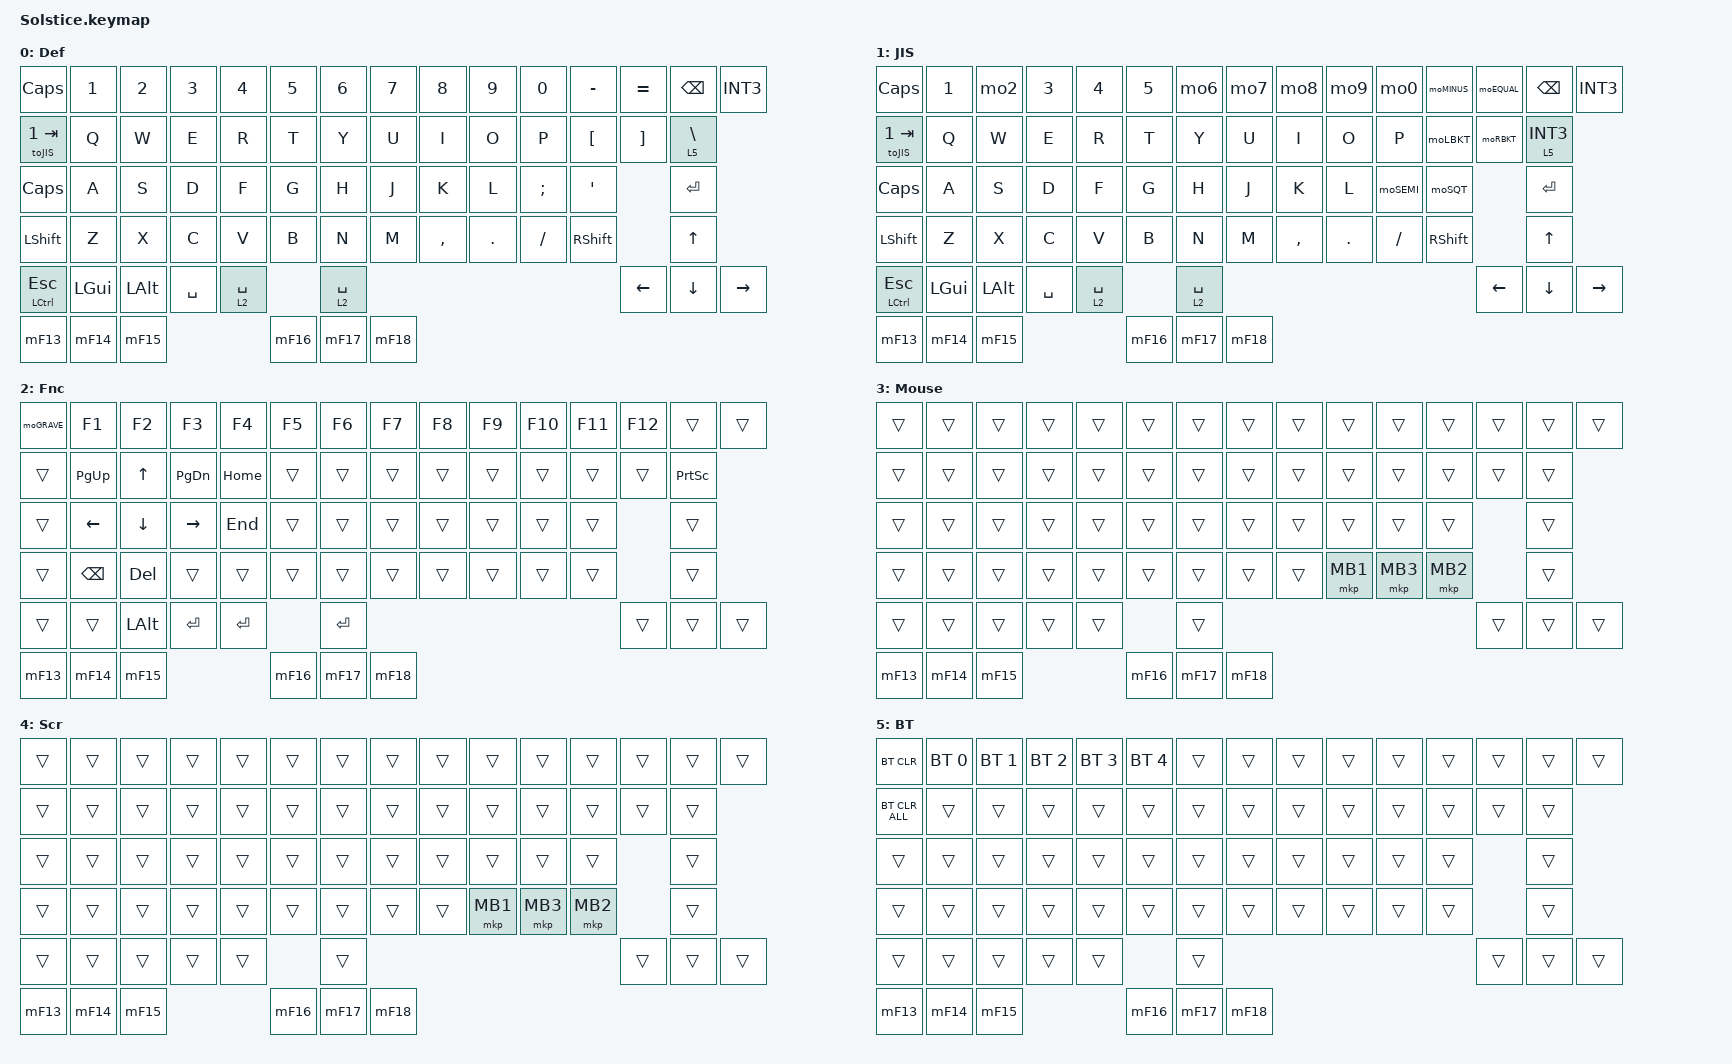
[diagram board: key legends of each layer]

keymap {
	compatible = "zmk,keymap";
	default_layer {
		label="Def";
		bindings = <
		&kp CAPS       &kp N1    &kp N2     &kp N3     &kp N4     &kp N5       &kp N6    &kp N7     &kp N8     &kp N9     &kp N0    &kp MINUS  &kp EQUAL      &kp BKSP  &kp INT3
		&toJIS 1 TAB   &kp Q     &kp W      &kp E      &kp R      &kp T        &kp Y     &kp U      &kp I      &kp O      &kp P     &kp LBKT   &kp RBKT       &lt 5 BSLH
		&kp CAPS     &kp A     &kp S      &kp D      &kp F      &kp G        &kp H     &kp J      &kp K      &kp L      &kp SEMI  &kp SQT                   &kp ENTER
		&kp LSHFT      &kp Z     &kp X      &kp C      &kp V      &kp B        &kp N     &kp M      &kp COMMA  &kp DOT    &kp FSLH  &kp RSHFT                 &kp UP
		&mt LCTL ESC   &kp LGUI  &kp LALT   &kp SPACE  &lt 2 SPACE             &lt 2 SPACE                                                           &kp LEFT &kp DOWN &kp RIGHT
		&mF13            &mF14            &mF15            &mF16            &mF17            &mF18
		>;
	};
	
	jis_layer {
		label="JIS";
		bindings = <
		&kp CAPS       &kp N1    &mo2       &kp N3     &kp N4     &kp N5       &mo6      &mo7       &mo8       &mo9       &mo0      &moMINUS   &moEQUAL        &kp BKSP  &kp INT3
		&toJIS 1 TAB   &kp Q     &kp W      &kp E      &kp R      &kp T        &kp Y     &kp U      &kp I      &kp O      &kp P     &moLBKT    &moRBKT         &lt 5 INT3
		&kp CAPS       &kp A     &kp S      &kp D      &kp F      &kp G        &kp H     &kp J      &kp K      &kp L      &moSEMI   &moSQT                     &kp ENTER
		&kp LSHFT      &kp Z     &kp X      &kp C      &kp V      &kp B        &kp N     &kp M      &kp COMMA  &kp DOT    &kp FSLH  &kp RSHFT                  &kp UP
		&mt LCTL ESC   &kp LGUI  &kp LALT   &kp SPACE  &lt 2 SPACE             &lt 2 SPACE                                                        &kp LEFT &kp DOWN &kp RIGHT
		&mF13            &mF14            &mF15            &mF16            &mF17            &mF18
		>;
	};
	
	function_layer {
		label="Fnc";
		bindings = <
		&moGRAVE      &kp F1     &kp F2     &kp F3     &kp F4     &kp F5       &kp F6    &kp F7     &kp F8     &kp F9     &kp F10   &kp F11    &kp F12         &trans   &trans
		&trans        &kp PG_UP  &kp UP     &kp PG_DN  &kp HOME   &trans       &trans    &trans     &trans     &trans     &trans    &trans     &trans          &kp PSCRN
		&trans        &kp LEFT   &kp DOWN   &kp RIGHT  &kp END    &trans       &trans    &trans     &trans     &trans     &trans    &trans                     &trans
		&trans        &kp BKSP   &kp DEL    &trans     &trans     &trans       &trans    &trans     &trans     &trans     &trans    &trans                     &trans
		&trans        &trans     &kp LALT   &kp ENTER  &kp ENTER               &kp ENTER                                                              &trans   &trans   &trans
		&mF13            &mF14            &mF15            &mF16            &mF17            &mF18
		>;
	};
	
	mouse_layer {
		label="Mouse";
		bindings = <
		&trans        &trans     &trans     &trans     &trans     &trans       &trans    &trans     &trans     &trans     &trans    &trans     &trans          &trans   &trans
		&trans        &trans     &trans     &trans     &trans     &trans       &trans    &trans     &trans     &trans     &trans    &trans     &trans          &trans
		&trans        &trans     &trans     &trans     &trans     &trans       &trans    &trans     &trans     &trans     &trans    &trans                     &trans
		&trans        &trans     &trans     &trans     &trans     &trans       &trans    &trans     &trans     &mkp MB1   &mkp MB3  &mkp MB2                   &trans
		&trans        &trans     &trans                &trans     &trans       &trans                                                                 &trans   &trans   &trans
		&mF13            &mF14            &mF15            &mF16            &mF17            &mF18
		>;
	};
	
	scroll_layer {
		label="Scr";
		bindings = <
		&trans        &trans     &trans     &trans     &trans     &trans       &trans    &trans     &trans     &trans     &trans    &trans     &trans          &trans   &trans
		&trans        &trans     &trans     &trans     &trans     &trans       &trans    &trans     &trans     &trans     &trans    &trans     &trans          &trans
		&trans        &trans     &trans     &trans     &trans     &trans       &trans    &trans     &trans     &trans     &trans    &trans                     &trans
		&trans        &trans     &trans     &trans     &trans     &trans       &trans    &trans     &trans     &mkp MB1   &mkp MB3  &mkp MB2                   &trans
		&trans        &trans     &trans                &trans     &trans       &trans                                                                 &trans   &trans   &trans
		&mF13            &mF14            &mF15            &mF16            &mF17            &mF18
		>;
	};
	
	bt_layer {
		label="BT";
		bindings = <
		&bt BT_CLR     &bt BT_SEL 0 &bt BT_SEL 1 &bt BT_SEL 2 &bt BT_SEL 3 &bt BT_SEL 4  &trans   &trans   &trans   &trans   &trans  &trans    &trans          &trans   &trans
		&bt BT_CLR_ALL &trans       &trans       &trans       &trans       &trans        &trans   &trans   &trans   &trans   &trans  &trans    &trans          &trans
		&trans         &trans       &trans       &trans       &trans       &trans        &trans   &trans   &trans   &trans   &trans  &trans                    &trans
		&trans         &trans       &trans       &trans       &trans       &trans        &trans   &trans   &trans   &trans   &trans  &trans                    &trans
		&trans         &trans       &trans       &trans       &trans                     &trans                                                       &trans   &trans   &trans
		&mF13            &mF14            &mF15            &mF16            &mF17            &mF18
		>;
	};
};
